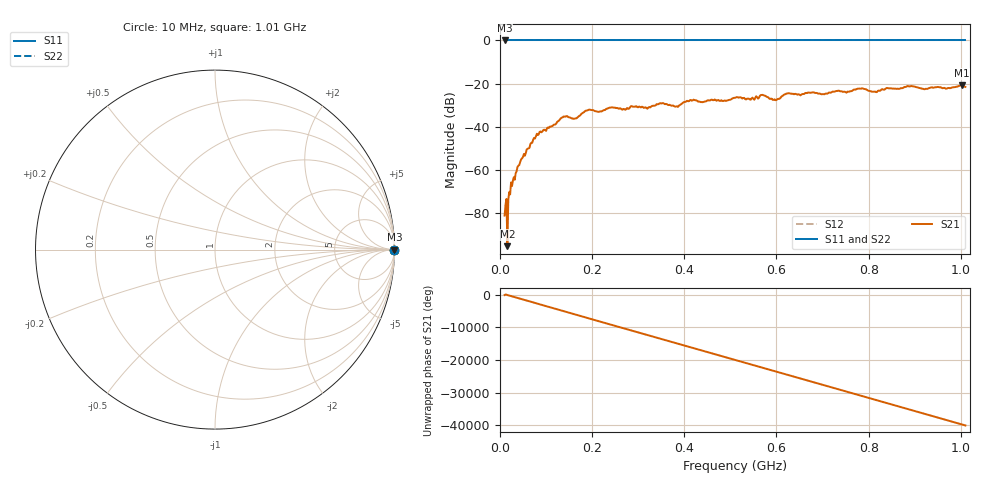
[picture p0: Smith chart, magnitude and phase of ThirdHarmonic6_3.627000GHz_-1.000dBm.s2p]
! 8/17/2025 12:09:23 PM
! C:\ANRITSUVNA\TEMP\TEMP.S2P
! CHANNEL.1
! TR.MEASUREMENT
! RAW.DATA
! RF.CORRECTION.OFF
! AVERAGING.OFF
! IF.BANDWIDTH: 5KHZ
! SWEEPTYPE:  FREQ.SWEEP(Linear)
! Reference Plane Port Info
! PORT:  PORT1  PORT2
! DISTANCE:  0  m  0  m
! TIME:  0  s  0  s
! PHASE.OFFSET:  0  deg.  0  deg.
! LOSS:  0  dB  0  dB
! REF.LOSS:  0  dB  0  dB
! REF.FREQ:  0  Hz  0  Hz
! Power Info
! POWER:  -20  dBm  -20  dBm
! EFF.POWER:  -20  dBm  -20  dBm
! SOURCE.ATTEN:  0  dB  0  dB
! TEST.ATTEN:  0  dB  0  dB
# GHZ S RI R 50.0
! FREQ.GHZ  S11RE  S11IM  S21RE  S21IM  S12RE  S12IM  S22RE  S22IM
!; PortSelection: Port_12
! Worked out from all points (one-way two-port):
!   501 points, 10 MHz to 1.01 GHz, reference 50 ohm
!   highest |S21| = -20.70 dB at 1.002 GHz (marker M1); lowest = -95.2 dB at 16 MHz (marker M2)
!   lowest |S11| = 0.0 dB at 10 MHz (marker M3)
!   |S11| at or under -10 dB: nowhere
!   |S22| runs from 0.0 to 0.0 dB; largest |S21 - S12| = 1.1
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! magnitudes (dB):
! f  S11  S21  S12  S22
! 10 MHz  0.0  -81.0  0.0  0.0
! 16 MHz  0.0  -95.2  0.0  0.0
! 28 MHz  0.0  -64.8  0.0  0.0
! 42 MHz  0.0  -57.6  0.0  0.0
! 76 MHz  0.0  -45.4  0.0  0.0
! 136 MHz  0.0  -35.6  0.0  0.0
! 162 MHz  0.0  -36.2  0.0  0.0
! 178 MHz  0.0  -33.7  0.0  0.0
! 344 MHz  0.0  -29.5  0.0  0.0
! 382 MHz  0.0  -30.6  0.0  0.0
! 416 MHz  0.0  -27.9  0.0  0.0
! 510 MHz  0.0  -26.5  0.0  0.0
! 548 MHz  0.0  -26.5  0.0  0.0
! 570 MHz  0.0  -25.2  0.0  0.0
! 596 MHz  0.0  -27.3  0.0  0.0
! 624 MHz  0.0  -24.6  0.0  0.0
! 678 MHz  0.0  -24.0  0.0  0.0
! 784 MHz  0.0  -22.3  0.0  0.0
! 814 MHz  0.0  -23.6  0.0  0.0
! 844 MHz  0.0  -22.2  0.0  0.0
! 1.002 GHz  0.0  -20.7  0.0  0.0
! 1.01 GHz  0.0  -21.5  0.0  0.0
